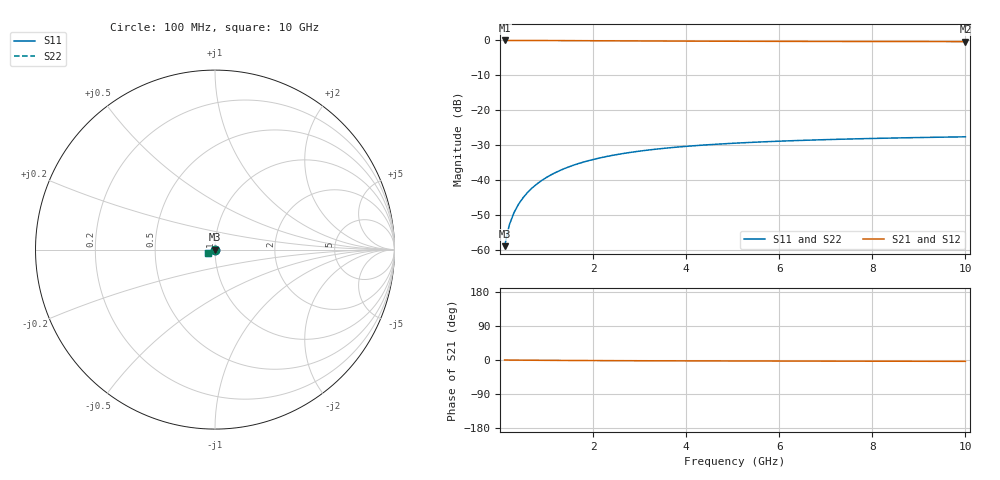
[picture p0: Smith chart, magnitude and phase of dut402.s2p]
! Touchstone file exported from HFSS 2024.1.0
!  File:  C:/UserFiles/LocalFiles/RDL_TSV_Batchsim/temp_TSV1_402_1779691601.aedt
!  Generated:  02:52:24 PM May 25, 2026
!  Design:  TSV1
!  Project:  temp_TSV1_402_1779691601
!  Setup:  Setup1
!  Solution:  Sweep
! Variables:
!  dtsv = 13.79um
!  hbump = 3um
!  htsv = 50.74um
!  lrdl = 252.1521522um
!  p = 40
!  p1 = 44.45um
!  t = 500um
!  trdl = 3um
!  wrdl = 24.89489489um
# GHz S MA R 50.000000
! Terminal data exported
! Port[1] = TSV22_T1
! Port[2] = TSV22_T2
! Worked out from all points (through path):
!   100 points, 100 MHz to 10 GHz, reference 50 ohm
!   highest |S21| = 0.00 dB at 100 MHz (marker M1); lowest = -0.3 dB at 10 GHz (marker M2)
!   lowest |S11| = -59.0 dB at 100 MHz (marker M3), VSWR 1.00, Z = 50 - j0.112 ohm
!   |S11| at or under -10 dB: start of sweep to end of sweep
!   |S22| runs from -59.0 to -27.7 dB; largest |S21 - S12| = 3e-15
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0.1  0.001118 -88.1  0.9999 -0.1  0.9999 -0.1  0.001118 -88.1
! Gamma 0 0 0 0
! Port Impedance 50 0 50 0
0.2  0.002245 -91.2  0.9998 -0.2  0.9998 -0.2  0.002245 -91.2
0.3  0.003367 -93.3  0.9996 -0.3  0.9996 -0.3  0.003367 -93.3
0.4  0.00448 -95.2  0.9994 -0.4  0.9994 -0.4  0.00448 -95.2
0.5  0.005581 -96.9  0.9991 -0.5  0.9991 -0.5  0.005581 -96.9
0.6  0.006669 -98.6  0.9988 -0.5  0.9988 -0.5  0.006669 -98.6
0.7  0.00774 -100.2  0.9984 -0.6  0.9984 -0.6  0.00774 -100.2
0.8  0.008794 -101.7  0.998 -0.7  0.998 -0.7  0.008794 -101.7
0.9  0.009827 -103.2  0.9975 -0.8  0.9975 -0.8  0.009827 -103.2
1.1  0.01183 -106.2  0.9965 -0.9  0.9965 -0.9  0.01183 -106.2
1.4  0.01465 -110.3  0.9946 -1.2  0.9946 -1.2  0.01465 -110.3
1.6  0.01639 -112.9  0.9933 -1.3  0.9933 -1.3  0.01639 -112.9
1.8  0.01804 -115.3  0.992 -1.4  0.992 -1.4  0.01804 -115.3
2.1  0.0203 -118.8  0.99 -1.6  0.99 -1.6  0.0203 -118.8
2.5  0.02298 -122.9  0.9873 -1.8  0.9873 -1.8  0.02298 -122.9
2.9  0.0253 -126.6  0.9848 -1.9  0.9848 -1.9  0.0253 -126.6
3.4  0.02778 -130.5  0.9818 -2.1  0.9818 -2.1  0.02778 -130.5
4.2  0.03096 -135.8  0.9777 -2.3  0.9777 -2.3  0.03096 -135.8
5.1  0.03372 -140.5  0.9738 -2.5  0.9738 -2.5  0.03372 -140.5
6.7  0.03723 -146.8  0.9686 -2.9  0.9686 -2.9  0.03723 -146.8
8.4  0.03976 -151.7  0.9647 -3.2  0.9647 -3.2  0.03976 -151.7
10  0.04144 -155.2  0.9621 -3.6  0.9621 -3.6  0.04144 -155.2
